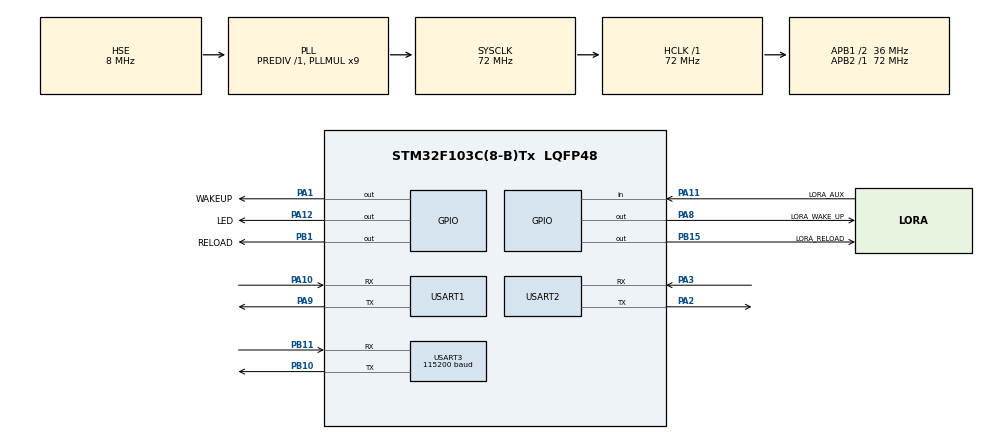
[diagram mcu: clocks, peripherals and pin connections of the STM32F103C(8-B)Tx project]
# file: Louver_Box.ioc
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Dma.Request0=USART2_RX
Dma.Request1=USART2_TX
Dma.Request2=USART1_RX
Dma.Request3=USART1_TX
Dma.USART1_RX.2.Direction=DMA_PERIPH_TO_MEMORY
Dma.USART1_RX.2.Instance=DMA1_Channel5
Dma.USART1_RX.2.MemDataAlignment=DMA_MDATAALIGN_BYTE
Dma.USART1_RX.2.MemInc=DMA_MINC_ENABLE
Dma.USART1_RX.2.Mode=DMA_NORMAL
Dma.USART1_RX.2.PeriphDataAlignment=DMA_PDATAALIGN_BYTE
Dma.USART1_RX.2.PeriphInc=DMA_PINC_DISABLE
Dma.USART1_RX.2.Priority=DMA_PRIORITY_LOW
Dma.USART1_TX.3.Direction=DMA_MEMORY_TO_PERIPH
Dma.USART1_TX.3.Instance=DMA1_Channel4
Dma.USART1_TX.3.MemDataAlignment=DMA_MDATAALIGN_BYTE
Dma.USART1_TX.3.MemInc=DMA_MINC_ENABLE
Dma.USART1_TX.3.Mode=DMA_NORMAL
Dma.USART1_TX.3.PeriphDataAlignment=DMA_PDATAALIGN_BYTE
Dma.USART1_TX.3.PeriphInc=DMA_PINC_DISABLE
Dma.USART1_TX.3.Priority=DMA_PRIORITY_LOW
Dma.USART2_RX.0.Direction=DMA_PERIPH_TO_MEMORY
Dma.USART2_RX.0.Instance=DMA1_Channel6
Dma.USART2_RX.0.MemDataAlignment=DMA_MDATAALIGN_BYTE
Dma.USART2_RX.0.MemInc=DMA_MINC_ENABLE
Dma.USART2_RX.0.Mode=DMA_NORMAL
Dma.USART2_RX.0.PeriphDataAlignment=DMA_PDATAALIGN_BYTE
Dma.USART2_RX.0.PeriphInc=DMA_PINC_DISABLE
Dma.USART2_RX.0.Priority=DMA_PRIORITY_LOW
Dma.USART2_TX.1.Direction=DMA_MEMORY_TO_PERIPH
Dma.USART2_TX.1.Instance=DMA1_Channel7
Dma.USART2_TX.1.MemDataAlignment=DMA_MDATAALIGN_BYTE
Dma.USART2_TX.1.MemInc=DMA_MINC_ENABLE
Dma.USART2_TX.1.Mode=DMA_NORMAL
Dma.USART2_TX.1.PeriphDataAlignment=DMA_PDATAALIGN_BYTE
Dma.USART2_TX.1.PeriphInc=DMA_PINC_DISABLE
Dma.USART2_TX.1.Priority=DMA_PRIORITY_LOW
FREERTOS.BinarySemaphores01=Comm_Recive,Dynamic,NULL;Rs485_Recive,Dynamic,NULL
FREERTOS.HEAP_NUMBER=4
FREERTOS.INCLUDE_eTaskGetState=0
FREERTOS.INCLUDE_pcTaskGetTaskName=0
FREERTOS.INCLUDE_uxTaskGetStackHighWaterMark=0
FREERTOS.INCLUDE_uxTaskPriorityGet=1
FREERTOS.INCLUDE_vTaskCleanUpResources=0
FREERTOS.INCLUDE_vTaskDelay=1
FREERTOS.INCLUDE_vTaskDelayUntil=0
FREERTOS.INCLUDE_vTaskDelete=0
FREERTOS.INCLUDE_vTaskPrioritySet=1
FREERTOS.INCLUDE_vTaskSuspend=1
FREERTOS.INCLUDE_xEventGroupSetBitFromISR=0
FREERTOS.INCLUDE_xQueueGetMutexHolder=0
FREERTOS.INCLUDE_xSemaphoreGetMutexHolder=0
FREERTOS.INCLUDE_xTaskAbortDelay=0
FREERTOS.INCLUDE_xTaskGetCurrentTaskHandle=0
FREERTOS.INCLUDE_xTaskGetHandle=0
FREERTOS.INCLUDE_xTaskGetSchedulerState=1
FREERTOS.INCLUDE_xTaskResumeFromISR=1
FREERTOS.INCLUDE_xTimerPendFunctionCall=0
FREERTOS.MEMORY_ALLOCATION=2
FREERTOS.Mutexes01=shellMutex,Dynamic,NULL;modbusMutex,Dynamic,NULL
FREERTOS.Tasks01=shell,-2,256,Shell_Task,Default,&shell,Dynamic,NULL,NULL;lora,2,128,Lora_Handle_Task,Default,Modbus_Object,Dynamic,NULL,NULL;data_collection,1,128,Data_Collection_Task,Default,Modbus_Object,Dynamic,NULL,NULL;iwdg,3,64,IWDG_Task,Default,NULL,Dynamic,NULL,NULL
FREERTOS.Timers01=Timer1,Timer_Callback,osTimerPeriodic,Default,NULL,Dynamic,NULL
FREERTOS.configCHECK_FOR_STACK_OVERFLOW=2
FREERTOS.configENABLE_BACKWARD_COMPATIBILITY=1
FREERTOS.configGENERATE_RUN_TIME_STATS=0
FREERTOS.configIDLE_SHOULD_YIELD=1
FREERTOS.configLIBRARY_LOWEST_INTERRUPT_PRIORITY=15
FREERTOS.configLIBRARY_MAX_SYSCALL_INTERRUPT_PRIORITY=5
FREERTOS.configMAX_CO_ROUTINE_PRIORITIES=2
FREERTOS.configMAX_PRIORITIES=7
FREERTOS.configMAX_TASK_NAME_LEN=16
FREERTOS.configMINIMAL_STACK_SIZE=64
FREERTOS.configQUEUE_REGISTRY_SIZE=8
FREERTOS.configRECORD_STACK_HIGH_ADDRESS=0
FREERTOS.configTICK_RATE_HZ=1000
FREERTOS.configTIMER_QUEUE_LENGTH=10
FREERTOS.configTIMER_TASK_PRIORITY=2
FREERTOS.configTIMER_TASK_STACK_DEPTH=128
FREERTOS.configTOTAL_HEAP_SIZE=14336
FREERTOS.configUSE_APPLICATION_TASK_TAG=0
FREERTOS.configUSE_COUNTING_SEMAPHORES=0
FREERTOS.configUSE_CO_ROUTINES=0
FREERTOS.configUSE_DAEMON_TASK_STARTUP_HOOK=0
FREERTOS.configUSE_IDLE_HOOK=0
FREERTOS.configUSE_MALLOC_FAILED_HOOK=1
FREERTOS.configUSE_MUTEXES=1
FREERTOS.configUSE_NEWLIB_REENTRANT=0
FREERTOS.configUSE_PREEMPTION=1
FREERTOS.configUSE_RECURSIVE_MUTEXES=0
FREERTOS.configUSE_STATS_FORMATTING_FUNCTIONS=0
FREERTOS.configUSE_TASK_NOTIFICATIONS=1
FREERTOS.configUSE_TICKLESS_IDLE=0
FREERTOS.configUSE_TICK_HOOK=0
FREERTOS.configUSE_TIMERS=1
FREERTOS.configUSE_TRACE_FACILITY=0
FREERTOS.copyHeapFile=1
IWDG.Prescaler=IWDG_PRESCALER_64
IWDG.Reload=1250
Mcu.Family=STM32F1
Mcu.Name=STM32F103C(8-B)Tx
Mcu.Package=LQFP48
NVIC.DMA1_Channel4_IRQn=true\:5\:0\:false\:false\:true\:true\:false\:true\:true
NVIC.DMA1_Channel5_IRQn=true\:5\:0\:false\:false\:true\:true\:false\:true\:true
NVIC.DMA1_Channel6_IRQn=true\:5\:0\:false\:false\:true\:true\:false\:true\:true
NVIC.DMA1_Channel7_IRQn=true\:5\:0\:false\:false\:true\:true\:false\:true\:true
NVIC.PriorityGroup=NVIC_PRIORITYGROUP_4
NVIC.TIM1_UP_IRQn=true\:15\:0\:false\:false\:true\:false\:true\:true\:true
NVIC.TimeBase=TIM1_UP_IRQn
NVIC.TimeBaseIP=TIM1
NVIC.USART1_IRQn=true\:5\:0\:false\:false\:true\:true\:true\:true\:true
NVIC.USART2_IRQn=true\:5\:0\:false\:false\:true\:true\:true\:true\:true
NVIC.USART3_IRQn=true\:5\:0\:false\:false\:true\:true\:true\:true\:true
PA1.GPIO_Label=WAKEUP
PA1.GPIO_PuPd=GPIO_PULLUP
PA1.GPIO_Speed=GPIO_SPEED_FREQ_LOW
PA1.PinState=GPIO_PIN_SET
PA1.Signal=GPIO_Output
PA10.Mode=Asynchronous
PA10.Signal=USART1_RX
PA11.GPIO_Label=LORA_AUX
PA11.GPIO_PuPd=GPIO_PULLUP
PA11.Signal=GPIO_Input
PA12.GPIO_Label=LED
PA12.PinState=GPIO_PIN_SET
PA12.Signal=GPIO_Output
PA13.Mode=Serial_Wire
PA13.Signal=SYS_JTMS-SWDIO
PA14.Mode=Serial_Wire
PA14.Signal=SYS_JTCK-SWCLK
PA2.Mode=Asynchronous
PA2.Signal=USART2_TX
PA3.Mode=Asynchronous
PA3.Signal=USART2_RX
PA8.GPIO_Label=LORA_WAKE_UP
PA8.GPIO_PuPd=GPIO_PULLUP
PA8.Signal=GPIO_Output
PA9.Mode=Asynchronous
PA9.Signal=USART1_TX
PB1.GPIO_Label=RELOAD
PB1.GPIO_PuPd=GPIO_PULLUP
PB1.PinState=GPIO_PIN_SET
PB1.Signal=GPIO_Output
PB10.Mode=Asynchronous
PB10.Signal=USART3_TX
PB11.Mode=Asynchronous
PB11.Signal=USART3_RX
PB15.GPIO_Label=LORA_RELOAD
PB15.GPIO_PuPd=GPIO_PULLUP
PB15.PinState=GPIO_PIN_SET
PB15.Signal=GPIO_Output
PC14-OSC32_IN.Mode=LSE-External-Oscillator
PC14-OSC32_IN.Signal=RCC_OSC32_IN
PC15-OSC32_OUT.Mode=LSE-External-Oscillator
PC15-OSC32_OUT.Signal=RCC_OSC32_OUT
PD0-OSC_IN.Mode=HSE-External-Oscillator
PD0-OSC_IN.Signal=RCC_OSC_IN
PD1-OSC_OUT.Mode=HSE-External-Oscillator
PD1-OSC_OUT.Signal=RCC_OSC_OUT
ProjectManager.HeapSize=0x0
ProjectManager.StackSize=0x400
ProjectManager.TargetToolchain=MDK-ARM V5.27
RCC.ADCPresc=RCC_ADCPCLK2_DIV6
RCC.AHBFreq_Value=72000000
RCC.APB1CLKDivider=RCC_HCLK_DIV2
RCC.APB1Freq_Value=36000000
RCC.APB1TimFreq_Value=72000000
RCC.APB2Freq_Value=72000000
RCC.APB2TimFreq_Value=72000000
RCC.FLatency=FLASH_LATENCY_2
RCC.HCLKFreq_Value=72000000
RCC.PLLMUL=RCC_PLL_MUL9
RCC.PLLSourceVirtual=RCC_PLLSOURCE_HSE
RCC.SYSCLKFreq_VALUE=72000000
RCC.SYSCLKSource=RCC_SYSCLKSOURCE_PLLCLK
RCC.USBFreq_Value=72000000
USART1.VirtualMode=VM_ASYNC
USART2.VirtualMode=VM_ASYNC
USART3.BaudRate=115200
USART3.Mode=MODE_TX_RX
USART3.Parity=PARITY_NONE
USART3.StopBits=STOPBITS_1
USART3.VirtualMode=VM_ASYNC
USART3.WordLength=WORDLENGTH_8B
VP_FREERTOS_VS_CMSIS_V1.Mode=CMSIS_V1
VP_IWDG_VS_IWDG.Mode=IWDG_Activate
VP_SYS_VS_tim1.Mode=TIM1
board=custom

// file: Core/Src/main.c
/* USER CODE BEGIN Header */
/**
 ******************************************************************************
 * @file           : main.c
 * @brief          : Main program body
 ******************************************************************************
 * @attention
 *
 * Copyright (c) 2023 STMicroelectronics.
 * All rights reserved.
 *
 * This software is licensed under terms that can be found in the LICENSE file
 * in the root directory of this software component.
 * If no LICENSE file comes with this software, it is provided AS-IS.
 *
 ******************************************************************************
 */
/* USER CODE END Header */
#include "main.h"
#include "cmsis_os.h"
#include "dma.h"
#include "iwdg.h"
#include "usart.h"
#include "gpio.h"

void SystemClock_Config(void);
void MX_FREERTOS_Init(void);

int main(void)
{

  /* MCU Configuration--------------------------------------------------------*/

  /* Reset of all peripherals, Initializes the Flash interface and the Systick. */
  HAL_Init();

  /* Configure the system clock */
  SystemClock_Config();

  /* Initialize all configured peripherals */
  MX_GPIO_Init();
  MX_DMA_Init();
  MX_USART3_UART_Init();
  // MX_IWDG_Init();
  MX_USART1_UART_Init();
  MX_USART2_UART_Init();

  /* Call init function for freertos objects (in freertos.c) */
  MX_FREERTOS_Init();

  /* Start scheduler */
  osKernelStart();

  /* We should never get here as control is now taken by the scheduler */
  /* Infinite loop */
  while (1)
  {

  }
}

void SystemClock_Config(void)
{
  RCC_OscInitTypeDef RCC_OscInitStruct = {0};
  RCC_ClkInitTypeDef RCC_ClkInitStruct = {0};

  /** Initializes the RCC Oscillators according to the specified parameters
   * in the RCC_OscInitTypeDef structure.
   */
  RCC_OscInitStruct.OscillatorType = RCC_OSCILLATORTYPE_LSI | RCC_OSCILLATORTYPE_HSE;
  RCC_OscInitStruct.HSEState = RCC_HSE_ON;
  RCC_OscInitStruct.HSEPredivValue = RCC_HSE_PREDIV_DIV1;
  RCC_OscInitStruct.HSIState = RCC_HSI_ON;
  RCC_OscInitStruct.LSIState = RCC_LSI_ON;
  RCC_OscInitStruct.PLL.PLLState = RCC_PLL_ON;
  RCC_OscInitStruct.PLL.PLLSource = RCC_PLLSOURCE_HSE;
  RCC_OscInitStruct.PLL.PLLMUL = RCC_PLL_MUL9;
  if (HAL_RCC_OscConfig(&RCC_OscInitStruct) != HAL_OK)
  {
    Error_Handler();
  }

  /** Initializes the CPU, AHB and APB buses clocks
   */
  RCC_ClkInitStruct.ClockType = RCC_CLOCKTYPE_HCLK | RCC_CLOCKTYPE_SYSCLK | RCC_CLOCKTYPE_PCLK1 | RCC_CLOCKTYPE_PCLK2;
  RCC_ClkInitStruct.SYSCLKSource = RCC_SYSCLKSOURCE_PLLCLK;
  RCC_ClkInitStruct.AHBCLKDivider = RCC_SYSCLK_DIV1;
  RCC_ClkInitStruct.APB1CLKDivider = RCC_HCLK_DIV2;
  RCC_ClkInitStruct.APB2CLKDivider = RCC_HCLK_DIV1;

  if (HAL_RCC_ClockConfig(&RCC_ClkInitStruct, FLASH_LATENCY_2) != HAL_OK)
  {
    Error_Handler();
  }
}

void HAL_TIM_PeriodElapsedCallback(TIM_HandleTypeDef *htim)
{
  if (htim->Instance == TIM1)
  {
    HAL_IncTick();
  }
}

void Error_Handler(void)
{
  __disable_irq();
  while (1)
  {
  }
}

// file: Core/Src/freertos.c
/* USER CODE BEGIN Header */
/**
 ******************************************************************************
 * File Name          : freertos.c
 * Description        : Code for freertos applications
 ******************************************************************************
 * @attention
 *
 * Copyright (c) 2023 STMicroelectronics.
 * All rights reserved.
 *
 * This software is licensed under terms that can be found in the LICENSE file
 * in the root directory of this software component.
 * If no LICENSE file comes with this software, it is provided AS-IS.
 *
 ******************************************************************************
 */
/* USER CODE END Header */

#include "FreeRTOS.h"
#include "task.h"
#include "main.h"
#include "cmsis_os.h"

/* USER CODE BEGIN Includes */
/*https://www.cnblogs.com/ydmblog/p/15308372.html*/
#include <cm_backtrace.h>
#include "shell_port.h"
#include "small_modbus_port.h"
#include "lora.h"
/* USER CODE END Includes */

osThreadId shellHandle;
osThreadId loraHandle;
osThreadId data_collectionHandle;
osThreadId iwdgHandle;
osTimerId Timer1Handle;
osMutexId shellMutexHandle;
osMutexId modbusMutexHandle;
osSemaphoreId Comm_ReciveHandle;
osSemaphoreId Rs485_ReciveHandle;

void Shell_Task(void const *argument);
void Lora_Handle_Task(void const *argument);
void Data_Collection_Task(void const *argument);
void IWDG_Task(void const *argument);
void Timer_Callback(void const *argument);

void MX_FREERTOS_Init(void); /* (MISRA C 2004 rule 8.1) */

/* GetIdleTaskMemory prototype (linked to static allocation support) */
void vApplicationGetIdleTaskMemory(StaticTask_t **ppxIdleTaskTCBBuffer, StackType_t **ppxIdleTaskStackBuffer, uint32_t *pulIdleTaskStackSize);

/* GetTimerTaskMemory prototype (linked to static allocation support) */
void vApplicationGetTimerTaskMemory(StaticTask_t **ppxTimerTaskTCBBuffer, StackType_t **ppxTimerTaskStackBuffer, uint32_t *pulTimerTaskStackSize);

/* Hook prototypes */
void vApplicationStackOverflowHook(xTaskHandle xTask, signed char *pcTaskName);
void vApplicationMallocFailedHook(void);

/* USER CODE BEGIN 4 */
__weak void vApplicationStackOverflowHook(xTaskHandle xTask, signed char *pcTaskName)
{
  /* Run time stack overflow checking is performed if
  configCHECK_FOR_STACK_OVERFLOW is defined to 1 or 2. This hook function is
  called if a stack overflow is detected. */
  shellPrint(&shell, "@error: %s is stack overflow!\r\n", pcTaskName);
}
/* USER CODE END 4 */

/* USER CODE BEGIN 5 */
__weak void vApplicationMallocFailedHook(void)
{
  /* vApplicationMallocFailedHook() will only be called if
  configUSE_MALLOC_FAILED_HOOK is set to 1 in FreeRTOSConfig.h. It is a hook
  function that will get called if a call to pvPortMalloc() fails.
  pvPortMalloc() is called internally by the kernel whenever a task, queue,
  timer or semaphore is created. It is also called by various parts of the
  demo application. If heap_1.c or heap_2.c are used, then the size of the
  heap available to pvPortMalloc() is defined by configTOTAL_HEAP_SIZE in
  FreeRTOSConfig.h, and the xPortGetFreeHeapSize() API function can be used
  to query the size of free heap space that remains (although it does not
  provide information on how the remaining heap might be fragmented). */
  shellPrint(&shell, "@error: memory allocation failed!\r\nremaining\tmini\r\n\
  %#x, %#X\r\n",
             xPortGetFreeHeapSize(), xPortGetMinimumEverFreeHeapSize());
}
/* USER CODE END 5 */

/* USER CODE BEGIN GET_IDLE_TASK_MEMORY */
static StaticTask_t xIdleTaskTCBBuffer;
static StackType_t xIdleStack[configMINIMAL_STACK_SIZE];

void vApplicationGetIdleTaskMemory(StaticTask_t **ppxIdleTaskTCBBuffer, StackType_t **ppxIdleTaskStackBuffer, uint32_t *pulIdleTaskStackSize)
{
  *ppxIdleTaskTCBBuffer = &xIdleTaskTCBBuffer;
  *ppxIdleTaskStackBuffer = &xIdleStack[0];
  *pulIdleTaskStackSize = configMINIMAL_STACK_SIZE;
  /* place for user code */
}
/* USER CODE END GET_IDLE_TASK_MEMORY */

/* USER CODE BEGIN GET_TIMER_TASK_MEMORY */
static StaticTask_t xTimerTaskTCBBuffer;
static StackType_t xTimerStack[configTIMER_TASK_STACK_DEPTH];

void vApplicationGetTimerTaskMemory(StaticTask_t **ppxTimerTaskTCBBuffer, StackType_t **ppxTimerTaskStackBuffer, uint32_t *pulTimerTaskStackSize)
{
  *ppxTimerTaskTCBBuffer = &xTimerTaskTCBBuffer;
  *ppxTimerTaskStackBuffer = &xTimerStack[0];
  *pulTimerTaskStackSize = configTIMER_TASK_STACK_DEPTH;
  /* place for user code */
}
/* USER CODE END GET_TIMER_TASK_MEMORY */

void MX_FREERTOS_Init(void)
{
  /* USER CODE BEGIN Init */
  MX_ShellInit(&shell);
  MX_ModbusInit();
  /* USER CODE END Init */
  /* Create the mutex(es) */
  /* definition and creation of shellMutex */
  osMutexDef(shellMutex);
  shellMutexHandle = osMutexCreate(osMutex(shellMutex));

  /* definition and creation of modbusMutex */
  osMutexDef(modbusMutex);
  modbusMutexHandle = osMutexCreate(osMutex(modbusMutex));

  /* Create the semaphores(s) */
  /* definition and creation of Comm_Recive */
  osSemaphoreDef(Comm_Recive);
  Comm_ReciveHandle = osSemaphoreCreate(osSemaphore(Comm_Recive), 1);

  /* definition and creation of Rs485_Recive */
  osSemaphoreDef(Rs485_Recive);
  Rs485_ReciveHandle = osSemaphoreCreate(osSemaphore(Rs485_Recive), 1);

  /* Create the timer(s) */
  /* definition and creation of Timer1 */
  osTimerDef(Timer1, Timer_Callback);
  Timer1Handle = osTimerCreate(osTimer(Timer1), osTimerPeriodic, NULL);

  /* Create the thread(s) */
  /* definition and creation of shell */
  osThreadDef(shell, Shell_Task, osPriorityLow, 0, 256);
  shellHandle = osThreadCreate(osThread(shell), (void *)&shell);

  /* definition and creation of lora */
  osThreadDef(lora, Lora_Handle_Task, osPriorityHigh, 0, 128);
  loraHandle = osThreadCreate(osThread(lora), (void *)Modbus_Object);

  /* definition and creation of data_collection */
  osThreadDef(data_collection, Data_Collection_Task, osPriorityAboveNormal, 0, 128);
  data_collectionHandle = osThreadCreate(osThread(data_collection), (void *)Modbus_Object);

  /* definition and creation of iwdg */
  osThreadDef(iwdg, IWDG_Task, osPriorityRealtime, 0, 64);
  iwdgHandle = osThreadCreate(osThread(iwdg), NULL);

}

void Shell_Task(void const *argument)
{
  /* USER CODE BEGIN Shell_Task */
  Shell *pshell = (Shell *)argument;

  /* Infinite loop */
  for (;;)
  {
    shellTask((void *)argument);
  }
  /* USER CODE END Shell_Task */
}

/* USER CODE BEGIN Header_Lora_Handle_Task */
extern bool g_LoraMutex;

/**
 * @brief	获取Lora模块当前是否空闲
 * @details	无线发�?�数据时拉低，用于指示发送繁忙状�?
 * @param	None
 * @retval	ture/fale
 */
static bool __inline Get_Lora_Status(void)
{
  return ((bool)HAL_GPIO_ReadPin(LORA_AUX_GPIO_Port, LORA_AUX_Pin));
}

// void Lora_Data_Handle(pUartHandle pu, pModbusHandle pd)
// {
// #define LOUVER_BOX_ID 13U

//   uint16_t crc16 = 0;

//   if (NULL == pu || NULL == pd)
//     return;

//   if (pu->rx.count <= 5U)
//     return;

//   if (pu->rx.pbuf[3] != LOUVER_BOX_ID)
//     return;

//   crc16 = get_crc16(pu->rx.pbuf, pu->rx.count - 2U, 0xffff);

//   if (Get_Smodbus_Data(pu->rx.pbuf, pu->rx.count - 2U, SMODBUS_WORD) !=
//       ((uint16_t)((crc16 >> 8U) | (crc16 << 8U))))
//     return;

//   uint8_t len = pu->rx.pbuf[5U + 3U] * 2U;
//   uint8_t buf[24U] = {0, 0, 0, LOUVER_BOX_ID, ReadInputReg, len};

//   if (len < sizeof(buf) / sizeof(buf[0]) &&
//       !pd->Mod_Operatex(pd, InputRegister, Read, 0x0,
//                         &buf[6U], len))
//   {
// #if LORA_USING_DEBUG
//     LORA_DEBUG("Input coil write failed!\r\n");
// #endif
//   }
//   memmove(buf, pu->rx.pbuf, 3U);
// #if defined(USING_REPEATER_MODE)
//   buf[1] = buf[2] = 0x01;
//   buf[3] |= 0x80;
// #else

// #endif
//   pu->tx.count = 3U + 3U + 2U + len;
//   crc16 = get_crc16(buf, pu->tx.count - 2U, 0xffff);

//   memmove(&buf[sizeof(buf) - sizeof(uint16_t)], &crc16, sizeof(uint16_t));

//   /*Ensure that the L101 module is currently idle*/
//   // while (!Get_Lora_Status())
//   // {
//   //   osDelay(1);
//   // }
//   HAL_UART_Transmit_DMA((UART_HandleTypeDef *)pu->huart, buf, pu->tx.count);
//   while (__HAL_UART_GET_FLAG((UART_HandleTypeDef *)pu->huart, UART_FLAG_TC) == RESET)
//   {
//   }
// #undef LOUVER_BOX_ID
// }

// void Lora_Data_Handle(pUartHandle pu, pModbusHandle pd)
// {
// #define LOUVER_BOX_ID 13U

//   uint16_t crc16 = 0;

//   if (NULL == pu || NULL == pd)
//     return;

//   if (pu->rx.count <= 5U)
//     return;

//   if (pu->rx.pbuf[0] != LOUVER_BOX_ID)
//     return;

//   crc16 = get_crc16(pu->rx.pbuf, pu->rx.count - 2U, 0xffff);

//   if (Get_Smodbus_Data(pu->rx.pbuf, pu->rx.count - 2U, SMODBUS_WORD) !=
//       ((uint16_t)((crc16 >> 8U) | (crc16 << 8U))))
//     return;

//   uint8_t len = pu->rx.pbuf[5U] * 2U;
//   uint8_t buf[24U] = {0, 0, 0, LOUVER_BOX_ID, ReadInputReg, len};

//   if (len < sizeof(buf) / sizeof(buf[0]) &&
//       !pd->Mod_Operatex(pd, InputRegister, Read, 0x0,
//                         &buf[6U], len))
//   {
// #if LORA_USING_DEBUG
//     LORA_DEBUG("Input coil write failed!\r\n");
// #endif
//   }
//   // memmove(buf, pu->rx.pbuf, 3U);
// #if defined(USING_REPEATER_MODE)
//   buf[1] = buf[2] = 0x01;
//   // buf[3] |= 0x80;
// #else

// #endif
//   pu->tx.count = 3U + 3U + 2U + len;
//   /*The first three bytes do not participate in the crc calculation*/
//   crc16 = get_crc16(&buf[3], pu->tx.count - 5U, 0xffff);

//   memmove(&buf[sizeof(buf) - sizeof(uint16_t)], &crc16, sizeof(uint16_t));

//   /*Ensure that the L101 module is currently idle*/
//   // while (!Get_Lora_Status())
//   // {
//   //   osDelay(1);
//   // }
//   HAL_UART_Transmit_DMA((UART_HandleTypeDef *)pu->huart, buf, pu->tx.count);
//   while (__HAL_UART_GET_FLAG((UART_HandleTypeDef *)pu->huart, UART_FLAG_TC) == RESET)
//   {
//   }
// #undef LOUVER_BOX_ID
// }

void Lora_Data_Handle(pUartHandle pu, pModbusHandle pd)
{
#define LOUVER_BOX_ID 2U

  uint16_t crc16 = 0;

  if (NULL == pu || NULL == pd)
    return;

  if (pu->rx.count <= 5U)
    return;

  if (pu->rx.pbuf[0] != LOUVER_BOX_ID)
    return;

  crc16 = get_crc16(pu->rx.pbuf, pu->rx.count - 2U, 0xffff);

  if (Get_Smodbus_Data(pu->rx.pbuf, pu->rx.count - 2U, SMODBUS_WORD) !=
      ((uint16_t)((crc16 >> 8U) | (crc16 << 8U))))
    return;

  uint8_t len = pu->rx.pbuf[5U] * 2U;
  uint8_t buf[21U] = {LOUVER_BOX_ID, ReadInputReg, len};

  if (len < sizeof(buf) / sizeof(buf[0]) &&
      !pd->Mod_Operatex(pd, InputRegister, Read, 0x0,
                        &buf[3U], len))
  {
#if LORA_USING_DEBUG
    LORA_DEBUG("Input coil write failed!\r\n");
#endif
  }

// #if defined(USING_REPEATER_MODE)
//   buf[1] = buf[2] = 0x01;
//   // buf[3] |= 0x80;
// #else

// #endif
  pu->tx.count =3U + 2U + len;
  /*The first three bytes do not participate in the crc calculation*/
  crc16 = get_crc16(buf, pu->tx.count - 2U, 0xffff);

  memmove(&buf[sizeof(buf) - sizeof(uint16_t)], &crc16, sizeof(uint16_t));

  HAL_UART_Transmit_DMA((UART_HandleTypeDef *)pu->huart, buf, pu->tx.count);
  while (__HAL_UART_GET_FLAG((UART_HandleTypeDef *)pu->huart, UART_FLAG_TC) == RESET)
  {
  }
#undef LOUVER_BOX_ID
}

/**
 * @brief	rt_thread 初始化目标串口的串口空闲中断+DMA接收
 * @details 乒乓缓冲实现方式：https://www.cnblogs.com/puyu9495/p/15914090.html
 * @param	puart Uartx handle
 * @param p_semaphore signal handler
 * @retval  none
 */
static void free_rtos_hal_uartx_dma_info_init(void *p_semaphore, pUartHandle puart)
{
  /*Initialize target serial port DMA configuration*/
  if (puart && puart->huart && puart->phdma && puart->rx.pbuf)
  {
    __HAL_UART_ENABLE_IT((UART_HandleTypeDef *)puart->huart, UART_IT_IDLE);
    /*DMA buffer must point to an entity address!!!*/
    HAL_UART_Receive_DMA((UART_HandleTypeDef *)puart->huart, puart->rx.pbuf, puart->rx.size);
    puart->rx.count = 0;
    memset(puart->rx.pbuf, 0x00, puart->rx.size);
  }
  if (p_semaphore)
    puart->semaphore = p_semaphore;
}

extern UART_HandleTypeDef huart1;
extern DMA_HandleTypeDef hdma_usart1_rx;

// uint8_t Louver_Tx[32U];
uint8_t Louver_Rx[32U];
UartHandle Louver_Uart = {
    .huart = &huart1,
    .phdma = &hdma_usart1_rx,
    .tx = {
        // .pbuf = sizeof(Louver_Tx) / sizeof(Louver_Tx[0]),
        .pbuf = NULL,
        .count = 0,
    },
    .rx = {
        .pbuf = Louver_Rx,
        .size = sizeof(Louver_Rx) / sizeof(Louver_Rx[0]),
    },
};

/**
 * @brief Function implementing the lora thread.
 * @param argument: Not used
 * @retval None
 */
/* USER CODE END Header_Lora_Handle_Task */
void Lora_Handle_Task(void const *argument)
{
  /* USER CODE BEGIN Lora_Handle_Task */
  pModbusHandle pd = (pModbusHandle)argument;
  UartHandle *pu = &Louver_Uart;

  while (NULL == pd)
    ;

  free_rtos_hal_uartx_dma_info_init(Comm_ReciveHandle, pu);
  /*The number of resources available after the creation of binary semaphore is 1,
which needs to be released first*/
  osSemaphoreWait(pu->semaphore, osWaitForever);

  /* Infinite loop */
  for (;;)
  {
    /*https://www.cnblogs.com/w-smile/p/11333950.html*/
    if (osOK == osSemaphoreWait(pu->semaphore, osWaitForever))
    {
      if (!g_LoraMutex)
      {
        Lora_Data_Handle(pu, pd);
      }
    }
  }
  /* USER CODE END Lora_Handle_Task */
}

/* USER CODE BEGIN Header_Data_Collection_Task */

/**
 * @brief Request shutter box data.
 * @param argument: Not used
 * @retval None
 */
// void Request_Louver_Box_Data(UartHandle *pu)
// {
//   if (NULL == pu)
//     return;

//   uint8_t buf[] = {SMALL_MODBUS_SLAVE_ADDR, 0x03, 0x01, 0xF4, 0x00, 0x08, 0x00, 0x00};
//   uint16_t crc = get_crc16(buf, sizeof(buf) - 2U, 0xFFFF);

//   memcpy(&buf[sizeof(buf) - 2U], (uint8_t *)&crc, sizeof(uint16_t));

//   HAL_UART_Transmit_DMA((UART_HandleTypeDef *)pu->huart, buf, sizeof(buf));
//   while (__HAL_UART_GET_FLAG((UART_HandleTypeDef *)pu->huart, UART_FLAG_TC) == RESET)
//   {
//   }
// }

/**
 * @brief Function implementing the data_collection thread.
 * @param argument: Not used
 * @retval None
 */
/* USER CODE END Header_Data_Collection_Task */
void Data_Collection_Task(void const *argument)
{
  /* USER CODE BEGIN Data_Collection_Task */

#define Louver_Box_Regs_Addr 500U
  pModbusHandle pd = (pModbusHandle)argument;
  while (NULL == pd)
    ;

  Request_HandleTypeDef modbus_master_cfg = {
      .code = ReadInputReg,
      .reg_start_addr = Louver_Box_Regs_Addr,
      .reg_len = 0x08,
  };
  memmove(&pd->Master.request_data, &modbus_master_cfg, sizeof(modbus_master_cfg));

  free_rtos_hal_uartx_dma_info_init(Rs485_ReciveHandle, &pd->Uart);
  /*The number of resources available after the creation of binary semaphore is 1,
  which needs to be released first*/
  osSemaphoreWait(pd->Uart.semaphore, osWaitForever);

  /* Infinite loop */
  for (;;)
  {
    /*https://www.cnblogs.com/w-smile/p/11333950.html*/
    if ((osOK == osSemaphoreWait(pd->Uart.semaphore, 1000U)))
    {
      if (!g_LoraMutex)
      {
        // pd->Slave.id = LOUVER_BOX_ID;
        // pd->Uart.rx.count = pu->rx.count;
        // memcpy(pu->rx.pbuf, pd->Uart.rx.pbuf, pd->Uart.rx.count);
        // pu->rx.count = 0;

        /*Offset Address*/
        pd->Master.request_data.reg_start_addr = 0;
        small_modbus_handler(pd);
      }
    }
    else
    {
      if (!g_LoraMutex)
      {
        // Request_Louver_Box_Data(pu);
        pd->Master.request_data.reg_start_addr = Louver_Box_Regs_Addr;
        pd->Mod_Request(pd);
      }
    }
    // osDelay(1000);
  }
  /* USER CODE END Data_Collection_Task */
}

void IWDG_Task(void const *argument)
{
  /* USER CODE BEGIN IWDG_Task */
  /* Infinite loop */
  for (;;)
  {
    extern IWDG_HandleTypeDef hiwdg;

    // HAL_IWDG_Refresh(&hiwdg);
    HAL_GPIO_TogglePin(LED_GPIO_Port, LED_Pin);
    osDelay(1000);
  }
  /* USER CODE END IWDG_Task */
}

/* Timer_Callback function */
void Timer_Callback(void const *argument)
{
}
